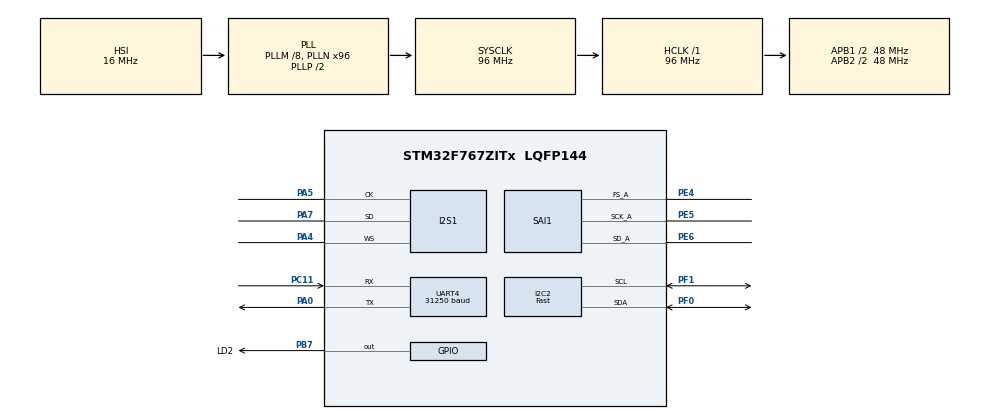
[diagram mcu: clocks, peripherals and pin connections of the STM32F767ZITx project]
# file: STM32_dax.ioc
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Dma.Request0=UART4_RX
Dma.Request1=SAI1_A
Dma.SAI1_A.1.Direction=DMA_MEMORY_TO_PERIPH
Dma.SAI1_A.1.FIFOMode=DMA_FIFOMODE_DISABLE
Dma.SAI1_A.1.Instance=DMA2_Stream1
Dma.SAI1_A.1.MemDataAlignment=DMA_MDATAALIGN_HALFWORD
Dma.SAI1_A.1.MemInc=DMA_MINC_ENABLE
Dma.SAI1_A.1.Mode=DMA_CIRCULAR
Dma.SAI1_A.1.PeriphDataAlignment=DMA_PDATAALIGN_HALFWORD
Dma.SAI1_A.1.PeriphInc=DMA_PINC_DISABLE
Dma.SAI1_A.1.Priority=DMA_PRIORITY_LOW
Dma.UART4_RX.0.Direction=DMA_PERIPH_TO_MEMORY
Dma.UART4_RX.0.FIFOMode=DMA_FIFOMODE_DISABLE
Dma.UART4_RX.0.Instance=DMA1_Stream2
Dma.UART4_RX.0.MemDataAlignment=DMA_MDATAALIGN_BYTE
Dma.UART4_RX.0.MemInc=DMA_MINC_ENABLE
Dma.UART4_RX.0.Mode=DMA_CIRCULAR
Dma.UART4_RX.0.PeriphDataAlignment=DMA_PDATAALIGN_BYTE
Dma.UART4_RX.0.PeriphInc=DMA_PINC_DISABLE
Dma.UART4_RX.0.Priority=DMA_PRIORITY_LOW
I2C2.I2C_Fall_Time=100
I2C2.I2C_Rise_Time=100
I2C2.I2C_Speed_Mode=I2C_Fast
I2C2.Speed=400
I2C2.Timing=0x0090194B
I2S1.AudioFreq=I2S_AUDIOFREQ_8K
I2S1.ErrorAudioFreq=0.0 %
I2S1.FullDuplexMode=I2S_FULLDUPLEXMODE_DISABLE
I2S1.Instance=SPI$Index
I2S1.RealAudioFreq=8.0 KHz
I2S1.VirtualMode=I2S_MODE_MASTER
Mcu.Family=STM32F7
Mcu.Name=STM32F767ZITx
Mcu.Package=LQFP144
NVIC.DMA1_Stream2_IRQn=true\:0\:0\:false\:false\:true\:false\:true
NVIC.DMA2_Stream1_IRQn=true\:0\:0\:false\:false\:true\:false\:true
NVIC.PriorityGroup=NVIC_PRIORITYGROUP_4
PA0/WKUP.Mode=Asynchronous
PA0/WKUP.Signal=UART4_TX
PA4.Mode=Half_Duplex_Master
PA4.Signal=I2S1_WS
PA5.Mode=Half_Duplex_Master
PA5.Signal=I2S1_CK
PA7.Mode=Half_Duplex_Master
PA7.Signal=I2S1_SD
PB7.GPIO_Label=LD2
PB7.Signal=GPIO_Output
PC11.Mode=Asynchronous
PC11.Signal=UART4_RX
PE4.Mode=SAI_A_Master
PE4.Signal=SAI1_FS_A
PE5.Mode=SAI_A_Master
PE5.Signal=SAI1_SCK_A
PE6.Mode=SAI_A_Master
PE6.Signal=SAI1_SD_A
PF0.Mode=I2C
PF0.Signal=I2C2_SDA
PF1.Mode=I2C
PF1.Signal=I2C2_SCL
ProjectManager.HeapSize=0x200
ProjectManager.StackSize=0x400
ProjectManager.TargetToolchain=STM32CubeIDE
RCC.AHBFreq_Value=96000000
RCC.APB1CLKDivider=RCC_HCLK_DIV2
RCC.APB1Freq_Value=48000000
RCC.APB1TimFreq_Value=96000000
RCC.APB2CLKDivider=RCC_HCLK_DIV2
RCC.APB2Freq_Value=48000000
RCC.APB2TimFreq_Value=96000000
RCC.CortexFreq_Value=96000000
RCC.HCLKFreq_Value=96000000
RCC.HSE_VALUE=25000000
RCC.HSI_VALUE=16000000
RCC.LSE_VALUE=32768
RCC.PLLI2SN=96
RCC.PLLM=8
RCC.PLLN=96
RCC.PLLSAIQ=6
RCC.SYSCLKFreq_VALUE=96000000
RCC.SYSCLKSource=RCC_SYSCLKSOURCE_PLLCLK
RCC.USBFreq_Value=96000000
RCC.VCOOutputFreq_Value=192000000
SAI1.AudioFrequency-SAI_A_Master=SAI_AUDIO_FREQUENCY_44K
SAI1.BasicDataSize-SAI_A_Master=SAI_PROTOCOL_DATASIZE_16BIT
SAI1.ErrorAudioFreq-SAI_A_Master=-5.3 %
SAI1.InitProtocol-SAI_A_Master=Enable
SAI1.Instance-SAI_A_Master=SAI$Index_Block_A
SAI1.MClockEnable-SAI_A_Master=SAI_MASTERCLOCK_DISABLE
SAI1.RealAudioFreq-SAI_A_Master=41.666 KHz
SAI1.VirtualMode-SAI_A_Master=VM_MASTER
SAI1.VirtualProtocol-SAI_A_BASIC=VM_BASIC_PROTOCOL
UART4.BaudRate=31250
VP_SAI1_VP_$IpInstance_SAIA_SAI_BASIC.Mode=SAI_A_BASIC
board=custom

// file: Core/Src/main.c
/* USER CODE BEGIN Header */
/**
  ******************************************************************************
  * @file           : main.c
  * @brief          : Main program body
  ******************************************************************************
  * @attention
  *
  * <h2><center>&copy; Copyright (c) 2021 STMicroelectronics.
  * All rights reserved.</center></h2>
  *
  * This software component is licensed by ST under BSD 3-Clause license,
  * the "License"; You may not use this file except in compliance with the
  * License. You may obtain a copy of the License at:
  *                        opensource.org/licenses/BSD-3-Clause
  *
  ******************************************************************************
  */
/* USER CODE END Header */
#include "main.h"

/* USER CODE BEGIN Includes */
#include <float.h>
#include <math.h>
#include <string.h>
#include <stdio.h>
#include <stdbool.h> // for bool
#include "sine_animation.h"
#include "stdlib.h"
#include "ssd1306.h"
#include "fonts.h"
#include "test.h"
#include "bitmap.h"
#include "llist.h" // linked list for note storage as well as note struct
#include "wavetable16bit.h" //hardcoded wavetable
#include "wavetable_24.h" //24 overtone table
#include "pitchTable.h" //tables of pitches

/* USER CODE END Includes */

/* USER CODE BEGIN PD */
#define MIDI_BUFFER_LENGTH 64
#define AUDIO_BUFFER_LENGTH 8192
#define AUDIO_BUFFER_LENGTH_DIV2 AUDIO_BUFFER_LENGTH / 2
#define WAVETABLE_LENGTH 1024
#define SAMPLE_RATE 44100
/* USER CODE END PD */

I2C_HandleTypeDef hi2c2;

I2S_HandleTypeDef hi2s1;

SAI_HandleTypeDef hsai_BlockA1;
DMA_HandleTypeDef hdma_sai1_a;

UART_HandleTypeDef huart4;
DMA_HandleTypeDef hdma_uart4_rx;

/* USER CODE BEGIN PV */
//var for new bytes
uint8_t nb_MIDI_bytes;
bool trig;
bool newNote;

//synth calc variables
float osc1WavePointer = 0;
float osc1;
float osc2WavePointer = 0;
float osc2;

uint8_t	osc1Waveform, osc2Waveform;

float signal = 0;
float pitch = 0;

float_t		adsr1Output=0;
uint8_t		adsr1State=0;
float_t		attack1Inc=0;
float_t		decay1Inc=0;
float_t		release1Inc=0;

float_t		adsr2Output=0;
uint8_t		adsr2State=0;
float_t		attack2Inc=0;
float_t		decay2Inc=0;
float_t		release2Inc=0;

float adsr1Attack = 0.1f;
float adsr1Decay = 0.1f;
float adsr1Sus = 0.1f;
float adsr1Rel = 0.1f;

float adsr2Attack = 0.1f;
float adsr2Decay = 0.1f;
float adsr2Sus = 0.1f;
float adsr2Rel = 0.1f;

float osc1mix = 0.2f;
float osc2mix = 0.2f;

//linked list of notes
llist	note_list = NULL;
uint8_t paramvalue[32];

void play_note(uint8_t, uint8_t);
void stop_note(uint8_t);
void LocalMidiHandler(uint8_t, uint8_t);
uint8_t MIDI_GetNbNewBytes();
void processBuffer(uint8_t* MIDI_buffer, uint8_t nb_MIDI_bytes);
void setParams();
/* USER CODE END PV */

void SystemClock_Config(void);
static void MX_GPIO_Init(void);
static void MX_I2S1_Init(void);
static void MX_DMA_Init(void);
static void MX_UART4_Init(void);
static void MX_I2C2_Init(void);
static void MX_SAI1_Init(void);

/* USER CODE BEGIN 0 */

uint16_t sendBuff[AUDIO_BUFFER_LENGTH] = {0};
uint8_t UART4_rxBuffer[MIDI_BUFFER_LENGTH] = {0};
uint8_t msgnum, midimsg, received_char, key, velocity, ctrl, data;
uint8_t wavesel, velsel, pwm, pwm2, mod, vcf, tun, det, sus, notepos, bend,param, paramNum, paramVal, patch;

//

/* USER CODE END 0 */

int main(void)
{
  /* USER CODE BEGIN 1 */

	int screenOn;
	note* play_note;
	//for dma counting
	//uint8_t	nb_MIDI_bytes;

	int i = 0;
	for (i=0; i<AUDIO_BUFFER_LENGTH; i=i+2)
		{
			sendBuff[i] = (uint16_t)((int16_t) 0.0f);			// Left Channel value
			sendBuff[i+1] = (uint16_t)((int16_t) 0.0f);		// Right Channel Value
		}

  /* USER CODE END 1 */

  /* MCU Configuration--------------------------------------------------------*/

  /* Reset of all peripherals, Initializes the Flash interface and the Systick. */
  HAL_Init();

  /* Configure the system clock */
  SystemClock_Config();

  /* Initialize all configured peripherals */
  MX_GPIO_Init();
  MX_I2S1_Init();
  MX_DMA_Init();
  MX_UART4_Init();
  MX_I2C2_Init();
  MX_SAI1_Init();
  /* USER CODE BEGIN 2 */
  //Setting up the interupt case/callback
	//HAL_I2S_Transmit_DMA(&hi2s1, sendBuff, AUDIO_BUFFER_LENGTH);
  //AUDIO_BUFFER_LENGTH = DATA NEEDED TO TRIGGER INTERUPT

  /*
	SSD1306_Init(); // initialize the LCD screen display
	SSD1306_Clear();
	  	SSD1306_GotoXY (0,0); 					// goto 10, 10
	  	SSD1306_Puts ("ECE 186B", &Font_11x18, 1); // print ECE 186B & our names
	  	SSD1306_GotoXY (0, 30);
	  	SSD1306_Puts ("Joshua Mendoza", &Font_7x10, 1);
	  	SSD1306_GotoXY (0, 40);
	  	SSD1306_Puts ("Megan Abundo", &Font_7x10, 1);
	  	SSD1306_GotoXY (0, 50);
	  	SSD1306_Puts ("Paris Villarrial", &Font_7x10, 1);
	//SSD1306_DrawBitmap(0,0,wave1,128,64,1);
	//SSD1306_InvertDisplay(1);
	//SSD1306_Scrolldiagleft(0x00, 0x0f); 		//Scroll entire screen diagonally left

	SSD1306_UpdateScreen();
	HAL_Delay (2000);
 */
  HAL_SAI_Transmit_DMA(&hsai_BlockA1,(uint16_t *) sendBuff, AUDIO_BUFFER_LENGTH);
  HAL_UART_Receive_DMA(&huart4, UART4_rxBuffer, MIDI_BUFFER_LENGTH);

  /* USER CODE END 2 */

  /* Infinite loop */
  /* USER CODE BEGIN WHILE */
	while (1)
	{

		// HAL_I2S_Transmit(&hi2s1, triangle_wave, sizeof(triangle_wave)/sizeof(triangle_wave[0]), 10);

		nb_MIDI_bytes = MIDI_GetNbNewBytes();

		if(nb_MIDI_bytes){
			HAL_GPIO_WritePin(LD2_GPIO_Port, LD2_Pin, GPIO_PIN_SET);
			processBuffer(UART4_rxBuffer,nb_MIDI_bytes);
			HAL_GPIO_WritePin(LD2_GPIO_Port, LD2_Pin, GPIO_PIN_RESET);
		}

		play_note = get_last_note(note_list);

		if (play_note == NULL){ //no notes in the list
			pitch = 0;
			trig = 0;
		}
		else {
			//set the pitch and trigger the notes
			pitch = pitch_table[(play_note->midi_note)-18];
			HAL_GPIO_WritePin(LD2_GPIO_Port, LD2_Pin, GPIO_PIN_SET);
			trig = 1;
		}
		//test code
		if ( trig == 1)
		{
			//HAL_SAI_Transmit(&hsai_BlockA1, tone_c, sizeof(tone_c) / sizeof(tone_c[0]), 1000);
			if (screenOn == 0)
			{
				//SSD1306_Note0();
				screenOn = 1;
			}
		}
		else
		{
			screenOn = 0;
			//SSD1306_Clear();
		}
    /* USER CODE END WHILE */

	}
}

void SystemClock_Config(void)
{
  RCC_OscInitTypeDef RCC_OscInitStruct = {0};
  RCC_ClkInitTypeDef RCC_ClkInitStruct = {0};
  RCC_PeriphCLKInitTypeDef PeriphClkInitStruct = {0};

  /** Configure the main internal regulator output voltage
  */
  __HAL_RCC_PWR_CLK_ENABLE();
  __HAL_PWR_VOLTAGESCALING_CONFIG(PWR_REGULATOR_VOLTAGE_SCALE3);
  /** Initializes the RCC Oscillators according to the specified parameters
  * in the RCC_OscInitTypeDef structure.
  */
  RCC_OscInitStruct.OscillatorType = RCC_OSCILLATORTYPE_HSI;
  RCC_OscInitStruct.HSIState = RCC_HSI_ON;
  RCC_OscInitStruct.HSICalibrationValue = RCC_HSICALIBRATION_DEFAULT;
  RCC_OscInitStruct.PLL.PLLState = RCC_PLL_ON;
  RCC_OscInitStruct.PLL.PLLSource = RCC_PLLSOURCE_HSI;
  RCC_OscInitStruct.PLL.PLLM = 8;
  RCC_OscInitStruct.PLL.PLLN = 96;
  RCC_OscInitStruct.PLL.PLLP = RCC_PLLP_DIV2;
  RCC_OscInitStruct.PLL.PLLQ = 2;
  RCC_OscInitStruct.PLL.PLLR = 2;
  if (HAL_RCC_OscConfig(&RCC_OscInitStruct) != HAL_OK)
  {
    Error_Handler();
  }
  /** Activate the Over-Drive mode
  */
  if (HAL_PWREx_EnableOverDrive() != HAL_OK)
  {
    Error_Handler();
  }
  /** Initializes the CPU, AHB and APB buses clocks
  */
  RCC_ClkInitStruct.ClockType = RCC_CLOCKTYPE_HCLK|RCC_CLOCKTYPE_SYSCLK
                              |RCC_CLOCKTYPE_PCLK1|RCC_CLOCKTYPE_PCLK2;
  RCC_ClkInitStruct.SYSCLKSource = RCC_SYSCLKSOURCE_PLLCLK;
  RCC_ClkInitStruct.AHBCLKDivider = RCC_SYSCLK_DIV1;
  RCC_ClkInitStruct.APB1CLKDivider = RCC_HCLK_DIV2;
  RCC_ClkInitStruct.APB2CLKDivider = RCC_HCLK_DIV2;

  if (HAL_RCC_ClockConfig(&RCC_ClkInitStruct, FLASH_LATENCY_3) != HAL_OK)
  {
    Error_Handler();
  }
  PeriphClkInitStruct.PeriphClockSelection = RCC_PERIPHCLK_UART4|RCC_PERIPHCLK_SAI1
                              |RCC_PERIPHCLK_I2C2|RCC_PERIPHCLK_I2S;
  PeriphClkInitStruct.PLLI2S.PLLI2SN = 96;
  PeriphClkInitStruct.PLLI2S.PLLI2SP = RCC_PLLP_DIV2;
  PeriphClkInitStruct.PLLI2S.PLLI2SR = 2;
  PeriphClkInitStruct.PLLI2S.PLLI2SQ = 2;
  PeriphClkInitStruct.PLLSAI.PLLSAIN = 192;
  PeriphClkInitStruct.PLLSAI.PLLSAIR = 2;
  PeriphClkInitStruct.PLLSAI.PLLSAIQ = 6;
  PeriphClkInitStruct.PLLSAI.PLLSAIP = RCC_PLLSAIP_DIV2;
  PeriphClkInitStruct.PLLI2SDivQ = 1;
  PeriphClkInitStruct.PLLSAIDivQ = 1;
  PeriphClkInitStruct.PLLSAIDivR = RCC_PLLSAIDIVR_2;
  PeriphClkInitStruct.I2sClockSelection = RCC_I2SCLKSOURCE_PLLI2S;
  PeriphClkInitStruct.Sai1ClockSelection = RCC_SAI1CLKSOURCE_PLLSAI;
  PeriphClkInitStruct.Uart4ClockSelection = RCC_UART4CLKSOURCE_PCLK1;
  PeriphClkInitStruct.I2c2ClockSelection = RCC_I2C2CLKSOURCE_PCLK1;
  if (HAL_RCCEx_PeriphCLKConfig(&PeriphClkInitStruct) != HAL_OK)
  {
    Error_Handler();
  }
}

static void MX_I2C2_Init(void)
{

  hi2c2.Instance = I2C2;
  hi2c2.Init.Timing = 0x0090194B;
  hi2c2.Init.OwnAddress1 = 0;
  hi2c2.Init.AddressingMode = I2C_ADDRESSINGMODE_7BIT;
  hi2c2.Init.DualAddressMode = I2C_DUALADDRESS_DISABLE;
  hi2c2.Init.OwnAddress2 = 0;
  hi2c2.Init.OwnAddress2Masks = I2C_OA2_NOMASK;
  hi2c2.Init.GeneralCallMode = I2C_GENERALCALL_DISABLE;
  hi2c2.Init.NoStretchMode = I2C_NOSTRETCH_DISABLE;
  if (HAL_I2C_Init(&hi2c2) != HAL_OK)
  {
    Error_Handler();
  }
  /** Configure Analogue filter
  */
  if (HAL_I2CEx_ConfigAnalogFilter(&hi2c2, I2C_ANALOGFILTER_ENABLE) != HAL_OK)
  {
    Error_Handler();
  }
  /** Configure Digital filter
  */
  if (HAL_I2CEx_ConfigDigitalFilter(&hi2c2, 0) != HAL_OK)
  {
    Error_Handler();
  }

}

static void MX_I2S1_Init(void)
{

  hi2s1.Instance = SPI1;
  hi2s1.Init.Mode = I2S_MODE_MASTER_TX;
  hi2s1.Init.Standard = I2S_STANDARD_PHILIPS;
  hi2s1.Init.DataFormat = I2S_DATAFORMAT_16B;
  hi2s1.Init.MCLKOutput = I2S_MCLKOUTPUT_DISABLE;
  hi2s1.Init.AudioFreq = I2S_AUDIOFREQ_8K;
  hi2s1.Init.CPOL = I2S_CPOL_LOW;
  hi2s1.Init.ClockSource = I2S_CLOCK_PLL;
  if (HAL_I2S_Init(&hi2s1) != HAL_OK)
  {
    Error_Handler();
  }

}

static void MX_SAI1_Init(void)
{

  hsai_BlockA1.Instance = SAI1_Block_A;
  hsai_BlockA1.Init.AudioMode = SAI_MODEMASTER_TX;
  hsai_BlockA1.Init.Synchro = SAI_ASYNCHRONOUS;
  hsai_BlockA1.Init.OutputDrive = SAI_OUTPUTDRIVE_DISABLE;
  hsai_BlockA1.Init.NoDivider = SAI_MASTERDIVIDER_ENABLE;
  hsai_BlockA1.Init.FIFOThreshold = SAI_FIFOTHRESHOLD_EMPTY;
  hsai_BlockA1.Init.AudioFrequency = SAI_AUDIO_FREQUENCY_44K;
  hsai_BlockA1.Init.SynchroExt = SAI_SYNCEXT_DISABLE;
  hsai_BlockA1.Init.MonoStereoMode = SAI_STEREOMODE;
  hsai_BlockA1.Init.CompandingMode = SAI_NOCOMPANDING;
  hsai_BlockA1.Init.TriState = SAI_OUTPUT_NOTRELEASED;
  if (HAL_SAI_InitProtocol(&hsai_BlockA1, SAI_I2S_STANDARD, SAI_PROTOCOL_DATASIZE_16BIT, 2) != HAL_OK)
  {
    Error_Handler();
  }

}

static void MX_UART4_Init(void)
{

  huart4.Instance = UART4;
  huart4.Init.BaudRate = 31250;
  huart4.Init.WordLength = UART_WORDLENGTH_8B;
  huart4.Init.StopBits = UART_STOPBITS_1;
  huart4.Init.Parity = UART_PARITY_NONE;
  huart4.Init.Mode = UART_MODE_TX_RX;
  huart4.Init.HwFlowCtl = UART_HWCONTROL_NONE;
  huart4.Init.OverSampling = UART_OVERSAMPLING_16;
  huart4.Init.OneBitSampling = UART_ONE_BIT_SAMPLE_DISABLE;
  huart4.AdvancedInit.AdvFeatureInit = UART_ADVFEATURE_NO_INIT;
  if (HAL_UART_Init(&huart4) != HAL_OK)
  {
    Error_Handler();
  }

}

static void MX_DMA_Init(void)
{

  /* DMA controller clock enable */
  __HAL_RCC_DMA1_CLK_ENABLE();
  __HAL_RCC_DMA2_CLK_ENABLE();

  /* DMA interrupt init */
  /* DMA1_Stream2_IRQn interrupt configuration */
  HAL_NVIC_SetPriority(DMA1_Stream2_IRQn, 0, 0);
  HAL_NVIC_EnableIRQ(DMA1_Stream2_IRQn);
  /* DMA2_Stream1_IRQn interrupt configuration */
  HAL_NVIC_SetPriority(DMA2_Stream1_IRQn, 0, 0);
  HAL_NVIC_EnableIRQ(DMA2_Stream1_IRQn);

}

static void MX_GPIO_Init(void)
{
  GPIO_InitTypeDef GPIO_InitStruct = {0};

  /* GPIO Ports Clock Enable */
  __HAL_RCC_GPIOE_CLK_ENABLE();
  __HAL_RCC_GPIOF_CLK_ENABLE();
  __HAL_RCC_GPIOA_CLK_ENABLE();
  __HAL_RCC_GPIOC_CLK_ENABLE();
  __HAL_RCC_GPIOB_CLK_ENABLE();

  /*Configure GPIO pin Output Level */
  HAL_GPIO_WritePin(LD2_GPIO_Port, LD2_Pin, GPIO_PIN_RESET);

  /*Configure GPIO pin : LD2_Pin */
  GPIO_InitStruct.Pin = LD2_Pin;
  GPIO_InitStruct.Mode = GPIO_MODE_OUTPUT_PP;
  GPIO_InitStruct.Pull = GPIO_NOPULL;
  GPIO_InitStruct.Speed = GPIO_SPEED_FREQ_LOW;
  HAL_GPIO_Init(LD2_GPIO_Port, &GPIO_InitStruct);

}

/* USER CODE BEGIN 4 */

void HAL_I2S_TxCpltCallback(I2S_HandleTypeDef *hi2s1)
{
	HAL_I2S_Receive(&hi2s1, sendBuff, 8, 100);
	//HAL_I2S_(hi2s1, sendBuff, 16, 100);
	HAL_I2S_Transmit_DMA(&hi2s1, sendBuff, 8);
}

void HAL_SAI_TxHalfCpltCallback(SAI_HandleTypeDef *hsai){
	make_sound(0);
}

void HAL_SAI_TxCpltCallback(SAI_HandleTypeDef *hsai){
	make_sound(AUDIO_BUFFER_LENGTH_DIV2);
}

//void HAL_I2SEx_TxRxHalfCpltCallback(I2S_HandleTypeDef * hi2s1){
//HAL_I2S_Receive(&hi2s1, sendBuff, AUDIO_BUFFER_LENGTH, 100);
//HAL_I2S_(hi2s1, sendBuff, 16, 100);
//HAL_I2S_Transmit_DMA(&hi2s1, sendBuff, AUDIO_BUFFER_LENGTH);

//}

uint16_t DMA_GetCurrDataCounter(DMA_Stream_TypeDef* DMAy_Streamx)
{
  /* Check the parameters */
  assert_param(IS_DMA_ALL_PERIPH(DMAy_Streamx));

  /* Return the number of remaining data units for DMAy Streamx */
  return ((uint16_t)(DMAy_Streamx->NDTR));
}

uint8_t MIDI_GetNbNewBytes()
{
	static uint16_t dma_cpt_prev = MIDI_BUFFER_LENGTH;
	uint16_t dma_cpt, n = 0;
	// Get current DMA counter
	dma_cpt = DMA_GetCurrDataCounter(DMA1_Stream2);

	// If DMA counter has changed, compute the number of received MIDI bytes
	if (dma_cpt != dma_cpt_prev)
	{
		if (dma_cpt < dma_cpt_prev)
		{
			n = dma_cpt_prev - dma_cpt;
		}
		else
		{
			n = dma_cpt_prev - (dma_cpt - MIDI_BUFFER_LENGTH);
		}
		// Store the new DMA counter
		dma_cpt_prev = dma_cpt;
	}
	return (n);
}

//Author: Synthol Project, Adjusted to fit projec
void processBuffer(uint8_t* MIDI_buffer, uint8_t nb_MIDI_bytes)
{

	__IO uint32_t received_char;

	static uint8_t i = 0;
	static uint8_t state = 0;

	while (nb_MIDI_bytes != 0)
	{
		//reading a byte from the buffer
		received_char = UART4_rxBuffer[i];
		switch (state)
		{
		// State 0 = Starting point for a new MIDI message
		case 0:
		{
			switch (received_char & 0xF0)
			{
			case 0x90: // Note ON message
			{
				state = 10; // Next state is 10
				if (i == (MIDI_BUFFER_LENGTH-1)) {
					i = 0;				// Move to next MIDI byte
				}
				else {
					i++;
				}
				nb_MIDI_bytes--;
				break;
			}
			case 0x80: // Note OFF message
			{
				state = 20; // Next state is 20
				if (i == (MIDI_BUFFER_LENGTH-1)) {
					i = 0;				// Move to next MIDI byte
				}
				else {
					i++;
				}
				nb_MIDI_bytes--;
				break;
			}
			case 0xB0: // CC message
			{
				state = 30; // Next state is 30
				if (i == (MIDI_BUFFER_LENGTH-1)) {
					i = 0;				// Move to next MIDI byte
				}
				else {
					i++;
				}
				nb_MIDI_bytes--;
				break;
			}

			case 0xE0: // Pitch Bend message
			{
				state = 40; // Next state is 40
				if (i == (MIDI_BUFFER_LENGTH-1)) {
					i = 0;				// Move to next MIDI byte
				}
				else {
					i++;
				}
				nb_MIDI_bytes--;
				break;
			}
			default: // Other type of message, move to next byte but stays in state 0
			{
				//if (i == (MIDI_BUFFER_LENGTH-1)) i = 0;				// Move to next MIDI byte
				i++;
				break;
			}
			}
			break;
		}
		// State 10 & 11 : Note ON command
		case 10:
		{
			if (received_char > 0x7F) // If the following byte is not a note number
			{
				state = 0; // Return to state 0 without moving to next byte
			}
			else
			{ // Save MIDI note
				ctrl = key = received_char;

				if (i == (MIDI_BUFFER_LENGTH-1)) {
					i = 0;				// Move to next MIDI byte
				}
				else {
					i++;
				}
				nb_MIDI_bytes--;
				state = 11; // Next state is 11
			}
			break;
		}
		case 11:
		{
			data = velocity = received_char; //will only ever get velocity in this section i think

			if (i == (MIDI_BUFFER_LENGTH-1)) {
				i = 0;				// Move to next MIDI byte
			}
			else {
				i++;
			}
			nb_MIDI_bytes--;

			state = 10; // Next state is 10

			if (velocity > 0)
			{

				note_list = add_note_last(note_list, key, velocity);

				newNote = 1;

			}
			else
			{
				//find the key and deletes it
				note_list = delete_note(note_list, key);
			}
			break;
		}
		// State 20 & 21 : Note OFF command
		case 20:
		{
			if (received_char > 0x7F) // If the following byte is not a note number
			{
				state = 0; // Return to state 0 without moving to next byte
			}

			else
			{
				ctrl = key = received_char; // Save MIDI note

				if (i == (MIDI_BUFFER_LENGTH-1)) {
					i = 0;				// Move to next MIDI byte
				}
				else {
					i++;
				}
				nb_MIDI_bytes--;

				state = 21; // Next state is 21
			}
			break;
		}
		case 21:
		{
			velocity = data = received_char; // Save MIDI velocity
			if (i == (MIDI_BUFFER_LENGTH-1)) {
				i = 0;				// Move to next MIDI byte
			}
			else {
				i++;
			}
			nb_MIDI_bytes--;

			state = 20; // Next state is 20

			note_list = delete_note(note_list, key);
			break;
		}
		// State 30 & 31 : CC command
		case 30:
		{
			if (received_char > 0x7F) // If the following byte is not a CC number
			{
				state = 0; // Return to state 0 without moving to next byte
			}
			else
			{
				paramNum = received_char; // Save MIDI CC number

				if (i == (MIDI_BUFFER_LENGTH-1)) {
					i = 0;				// Move to next MIDI byte
				}
				else {
					i++;
				}
				nb_MIDI_bytes--;
				state = 31; // Next state is 31
			}
			break;
		}
		case 31:
		{
			paramVal = received_char; // Save MIDI velocity
			if (i == (MIDI_BUFFER_LENGTH-1)) {
				i = 0;				// Move to next MIDI byte
			}
			else {
				i++;
			}
			nb_MIDI_bytes--;
			state = 30;

			setParams();

			break;
		}
		// State 40 & 41 : Pitch Bend message
		case 40:
		{
			if (received_char > 0x7F) // If following byte is note a PB value
			{
				state = 0; // Return to state 0
			}
			else
			{
				param = received_char; // Save MIDI CC number
				if (i == (MIDI_BUFFER_LENGTH-1)) {
					i = 0;				// Move to next MIDI byte
				}
				else {
					i++;
				}
				nb_MIDI_bytes--;
				state = 41; // Next state is 41
			}
			break;
		}
		case 41:
		{
			param = received_char; // Save MIDI velocity
			if (i == (MIDI_BUFFER_LENGTH-1)) {
				i = 0;				// Move to next MIDI byte
			}
			else {
				i++;
			}
			nb_MIDI_bytes--;
			state = 40; // Next state is 00
			break;
		}
	}
	}
}

//TODO:logic for ADSR as well as DSP
void setParams(){
	switch (paramNum){
	case 73:								// ADRS Attack Time
		{
			adsr1Attack = 0.001f + (float_t) paramVal / 127;
			break;
		}

	case 75:								// ADRS Decay Time
		{
			adsr1Decay = 0.001f + (float_t) paramVal / 127;
			break;
		}

	case 79:								// ADRS Sustain Level
		{
			adsr1Sus = (float_t) paramVal / 127;
			break;
		}

	case 72:								// ADRS Release Time
		{
			adsr1Rel = 0.001f + (float_t) paramVal / 127;
			break;
		}

	//second ASDR
	case 80:								// ADRS Attack Time
		{
			adsr2Attack = 0.001f + (float_t) paramVal / 127;
			break;
		}

	case 81:								// ADRS Decay Time
		{
			adsr2Decay = 0.001f + (float_t) paramVal / 127;
			break;
		}

	case 82:								// ADRS Sustain Level
		{
			adsr2Sus = (float_t) paramVal / 127;
			break;
		}

	case 83:								// ADRS Release Time
		{
			adsr2Rel = 0.001f + (float_t) paramVal / 127;
			break;
		}

	//Waveform Select OSC2
	case 17:
			{
				if (paramVal >= 0 && paramVal < 32)	{
					osc2Waveform = 0;
				}
				else if (paramVal >= 32 && paramVal < 64)	{
					osc2Waveform = 1;
				}
				else if (paramVal >= 64 && paramVal < 96)	{
					osc2Waveform = 2;
				}
				else if (paramVal >= 96 && paramVal < 125){
					osc2Waveform = 3;
				}
				else if (paramVal >= 125 ){
					osc2Waveform = 4;
				}
				else {
					osc2Waveform = 0;
				}

				break;
			}
	//Waveform Select OSC1
	case 16:
			{
				if (paramVal >= 0 && paramVal < 32)	{
					osc1Waveform = 0;
				}
				else if (paramVal >= 32 && paramVal < 64)	{
					osc1Waveform = 1;
				}
				else if (paramVal >= 64 && paramVal < 96)	{
					osc1Waveform = 2;
				}
				else if (paramVal >= 96 && paramVal < 125){
					osc1Waveform = 3;
				}
				else if (paramVal >= 125 ){
					osc1Waveform = 4;
				}
				else {
					osc1Waveform = 0;
				}

				break;
			}
	case 74 :								// OSC1 mix level
	{
		osc1mix = (float_t) paramVal / 127;
		break;
	}

	case 71 :								// OSC2 mix level
	{
		osc2mix = (float_t) paramVal / 127;
		break;
	}
	}
}

void HAL_UART_RxHalfCpltCallback(UART_HandleTypeDef *huart)
{
	//HAL_UART_Transmit(&huart4, UART4_rxBuffer, MIDI_BUFFER_LENGTH, 100);
	//HAL_UART_Receive_DMA(&huart4, UART4_rxBuffer, MIDI_BUFFER_LENGTH);
	//new version dose not call here
		//processBuffer();
}

void HAL_UART_RxCpltCallback(UART_HandleTypeDef *huart)
{
	//HAL_UART_Transmit(&huart4, UART4_rxBuffer, MIDI_BUFFER_LENGTH, 100);
	//HAL_UART_Receive_DMA(&huart4, UART4_rxBuffer, MIDI_BUFFER_LENGTH);
	//once MIDI buffer is full we send to the process buffer function
	//new version dose not call here
	//processBuffer();
}

float calcSynth(){
	uint16_t a,b;
	float da, db;

	if (newNote){
		newNote = 0;
		adsr1State = 1; //first attck
		adsr2State = 1; //first attck

		attack1Inc = (1 - adsr1Output)/(adsr1Attack * SAMPLE_RATE);
		attack2Inc = (1 - adsr2Output)/(adsr2Attack * SAMPLE_RATE);
	}

	if (trig == 0) //note is complete, set the release time
		{
			if (adsr1State != 4)
			{
				adsr1State = 4;
				release1Inc = adsr1Output /(adsr1Rel * SAMPLE_RATE);
			}

			if (adsr2State != 4)
			{
				adsr2State = 4;
				release2Inc = adsr2Output /(adsr2Rel * SAMPLE_RATE);
			}

		}

		decay1Inc = (1-adsr1Sus) / (adsr1Decay * SAMPLE_RATE);
		decay2Inc = (1-adsr2Sus) / (adsr2Decay * SAMPLE_RATE);

	float osc_wtb_incr = WAVETABLE_LENGTH * (pitch) / SAMPLE_RATE;
	osc1WavePointer = osc1WavePointer + osc_wtb_incr;

	if(osc1WavePointer > WAVETABLE_LENGTH){
		osc1WavePointer = osc1WavePointer - WAVETABLE_LENGTH;
	}

	a = (int)osc1WavePointer;
	da = osc1WavePointer -a;
	b= a+1;
	db = b - osc1WavePointer;

	if (b>= WAVETABLE_LENGTH){
		b = 0;
	}

	switch (osc1Waveform)
	{
		case 0 :
		{
			osc1 = db*square[a] + da*square[b];					// Linear interpolation (same as weighted average)
			break;
		}

		case 1 :
		{
			osc1 = db*triangle[a] + da*triangle[b];
			break;
		}

		case 2 :
		{
			osc1 = db*sawtooth[a] + da*sawtooth[b];
			break;
		}

		case 3 :
		{
			osc1 = db*distosine[a] + da*distosine[b];
			break;
		}
		case 4 :
		{
			osc1 = db*sinewave[a] + da*sinewave[b];
			break;
		}

		default :
		{
			osc1 = db*sinewave[a] + da*sinewave[b];
			break;
		}
	}

	switch (osc2Waveform)
	{
		case 0 :
		{
			osc2 = db*square[a] + da*square[b];
			break;
		}

		case 1 :
		{
			osc2 = db*triangle[a] + da*triangle[b];
			break;
		}

		case 2 :
		{
			osc2 = db*sawtooth[a] + da*sawtooth[b];
			break;
		}

		case 3 :
		{
			osc2 = db*distosine[a] + da*distosine[b];
			break;
		}
		case 4 :
		{
			osc2 = db*sinewave[a] + da*sinewave[b];
			break;
		}

		default :
		{
			osc2 = db*sinewave[a] + da*sinewave[b];
			break;
		}
	}

	signal = (osc1mix * osc1) + (osc2mix * osc2);
	//signal = (osc1mix * osc1);

	signal =  signal * 32767.0f;

	if (signal > 32767.0f){
		signal = 32767.0f;
	}
	if (signal < -32767.0f){
		signal = -32767.0f;
	}

	//VCA

	//signal = adsr1_output * 32767.0f * signal_pf;

	return signal;
}

void make_sound(uint16_t start_index) {
	for (uint16_t i = 0; i < AUDIO_BUFFER_LENGTH_DIV2 ;  i=i+2) {
		float signal = calcSynth();
		sendBuff[start_index + i] = (int16_t)signal;
		sendBuff[start_index + i + 1] = (int16_t)signal;
	}
}

/* USER CODE END 4 */

void Error_Handler(void)
{
	__disable_irq();
	while (1)
	{
	}
}

/************************ (C) COPYRIGHT STMicroelectronics *****END OF FILE****/
